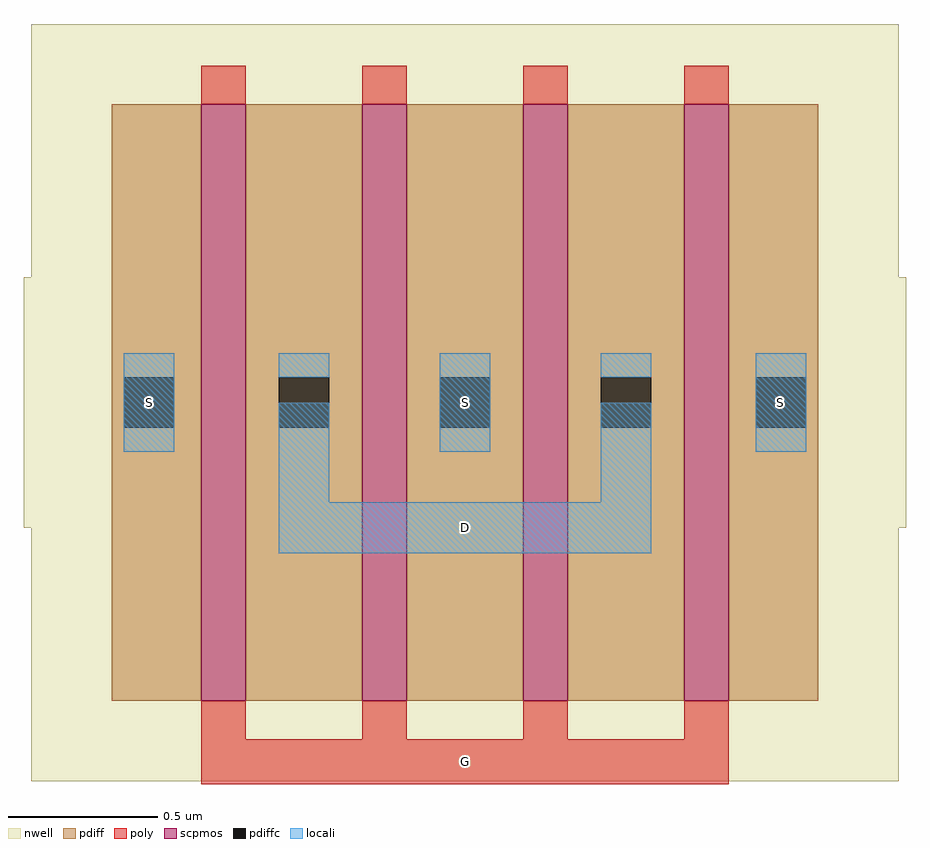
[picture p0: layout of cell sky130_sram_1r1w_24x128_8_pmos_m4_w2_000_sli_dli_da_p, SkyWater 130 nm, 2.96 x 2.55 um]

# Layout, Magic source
magic
tech sky130B
magscale 1 2
<< nwell >>
rect -54 -54 528 454
<< scpmos >>
rect 60 0 90 400
rect 168 0 198 400
rect 276 0 306 400
rect 384 0 414 400
<< pdiff >>
rect 0 0 60 400
rect 90 0 168 400
rect 198 0 276 400
rect 306 0 384 400
rect 414 0 474 400
<< poly >>
rect 60 400 90 426
rect 168 400 198 426
rect 276 400 306 426
rect 384 400 414 426
rect 60 -26 90 0
rect 168 -26 198 0
rect 276 -26 306 0
rect 384 -26 414 0
rect 60 -56 414 -26
<< locali >>
rect 8 167 42 233
rect 112 133 146 200
rect 220 167 254 233
rect 328 133 362 200
rect 432 167 466 233
rect 112 99 362 133
use sky130_sram_1r1w_24x128_8_contact_11  sky130_sram_1r1w_24x128_8_contact_11_0
transform 1 0 424 0 1 167
box -59 -51 109 117
use sky130_sram_1r1w_24x128_8_contact_11  sky130_sram_1r1w_24x128_8_contact_11_1
transform 1 0 320 0 1 167
box -59 -51 109 117
use sky130_sram_1r1w_24x128_8_contact_11  sky130_sram_1r1w_24x128_8_contact_11_2
transform 1 0 212 0 1 167
box -59 -51 109 117
use sky130_sram_1r1w_24x128_8_contact_11  sky130_sram_1r1w_24x128_8_contact_11_3
transform 1 0 104 0 1 167
box -59 -51 109 117
use sky130_sram_1r1w_24x128_8_contact_11  sky130_sram_1r1w_24x128_8_contact_11_4
transform 1 0 0 0 1 167
box -59 -51 109 117
<< labels >>
rlabel poly s 237 -41 237 -41 4 G
port 1 nsew
rlabel locali s 25 200 25 200 4 S
port 2 nsew
rlabel locali s 449 200 449 200 4 S
port 2 nsew
rlabel locali s 237 200 237 200 4 S
port 2 nsew
rlabel locali s 237 116 237 116 4 D
port 3 nsew
<< properties >>
string FIXED_BBOX -54 -56 528 454
<< end >>

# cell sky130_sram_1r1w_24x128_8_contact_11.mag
magic
tech sky130B
magscale 1 2
<< nwell >>
rect -59 -51 109 117
<< pdiff >>
rect 0 50 50 62
rect 0 16 8 50
rect 42 16 50 50
rect 0 4 50 16
<< pdiffc >>
rect 8 16 42 50
<< locali >>
rect 8 50 42 66
rect 8 0 42 16
<< properties >>
string FIXED_BBOX -59 -51 109 117
<< end >>
